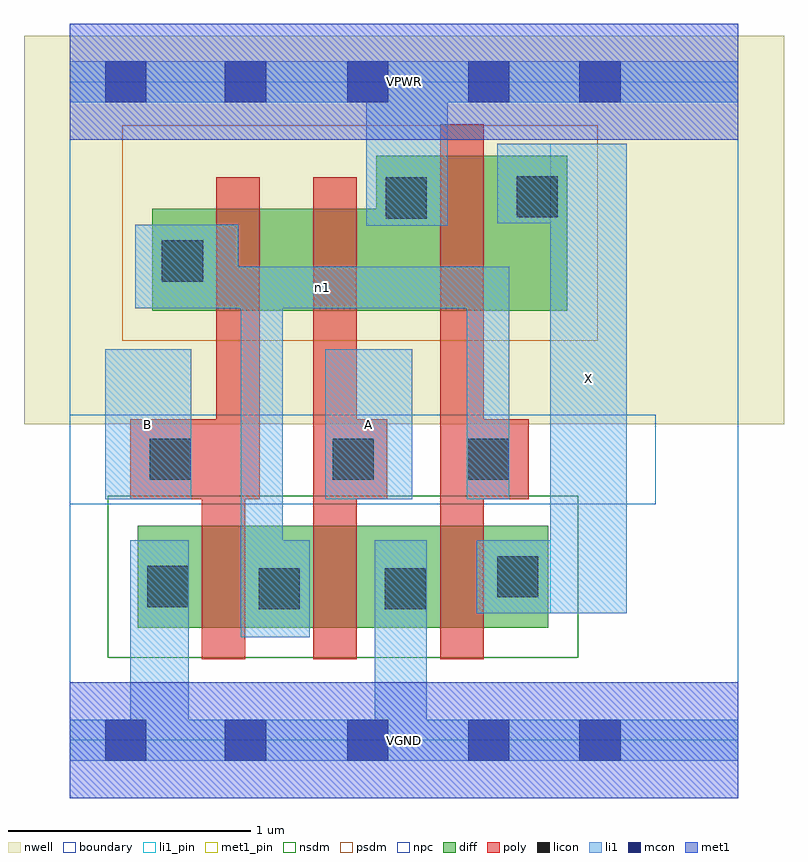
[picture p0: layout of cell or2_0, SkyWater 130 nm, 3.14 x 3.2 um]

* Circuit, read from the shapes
.subckt or2_0 A B VGND VPWR X n1
XM1 n1 B VGND VSUBS sky130_fd_pr__nfet_01v8 w=0.42 l=0.18
XM2 VGND A n1 VSUBS sky130_fd_pr__nfet_01v8 w=0.42 l=0.18
XM3 X n1 VGND VSUBS sky130_fd_pr__nfet_01v8 w=0.42 l=0.18
XM4 n2 B n1 n3 sky130_fd_pr__pfet_01v8 w=0.42 l=0.18
XM5 VPWR A n2 n3 sky130_fd_pr__pfet_01v8 w=0.42 l=0.18
XM6 X n1 VPWR n3 sky130_fd_pr__pfet_01v8 w=0.64 l=0.18
.ends

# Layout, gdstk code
import gdstk
lib = gdstk.Library(unit=1e-6, precision=1e-09)
def R(c, l, rs):  # rectangles x0, y0, x1, y1
    for r in rs: c.add(gdstk.rectangle(r[:2], r[2:], *l))
nwell = (64, 20)
diff = (65, 20)
poly = (66, 20)
licon = (66, 44)
li1_pin = (67, 16)
li1 = (67, 20)
mcon = (67, 44)
met1_pin = (68, 16)
met1 = (68, 20)
nsdm = (93, 44)
psdm = (94, 20)
npc = (95, 20)
boundary = (235, 4)

or2_0 = lib.new_cell('or2_0')
R(or2_0, nwell, [(-0.19,1.305,2.95,2.91), (0,1.305,2.76,2.91)])
R(or2_0, diff, [(0.28,0.465,1.975,0.885), (0.34,1.775,2.055,2.195), (1.265,1.775,2.055,2.415)])
R(or2_0, poly, [(0.545,0.335,0.725,1.325), (1.005,0.335,1.185,2.325), (1.53,0.335,1.71,2.545), (0.25,0.995,0.785,1.325), (0.605,0.995,0.785,2.325), (1.005,0.995,1.31,1.325), (1.53,0.995,1.895,1.325)])
R(or2_0, licon, [(0.78,0.54,0.95,0.71), (1.3,0.54,1.47,0.71), (0.32,0.55,0.49,0.72), (1.765,0.59,1.935,0.76), (0.33,1.075,0.5,1.245), (1.085,1.075,1.255,1.245), (1.645,1.075,1.815,1.245), (0.38,1.895,0.55,2.065), (1.305,2.155,1.475,2.325), (1.845,2.16,2.015,2.33)])
R(or2_0, li1_pin, [(1.985,0.525,2.3,2.465), (0.145,0.995,0.5,1.615), (1.055,0.995,1.415,1.615)])
R(or2_0, li1, [(0,-0.085,2.76,0.085), (0.25,-0.085,0.49,0.825), (1.26,-0.085,1.475,0.825), (0.705,0.425,0.88,1.955), (0.705,0.425,0.99,0.825), (1.68,0.525,2.3,0.825), (1.985,0.525,2.3,2.465), (0.145,0.995,0.5,1.615), (1.055,0.995,1.415,1.615), (1.64,0.995,1.815,1.955), (0.27,1.785,1.815,1.955), (0.27,1.785,0.695,2.13), (1.225,2.125,1.56,2.805), (1.765,2.135,2.3,2.465), (0,2.635,2.76,2.805)])
R(or2_0, mcon, [(0.145,-0.085,0.315,0.085), (0.64,-0.085,0.81,0.085), (1.145,-0.085,1.315,0.085), (1.645,-0.085,1.815,0.085), (2.105,-0.085,2.275,0.085), (0.145,2.635,0.315,2.805), (0.64,2.635,0.81,2.805), (1.145,2.635,1.315,2.805), (1.645,2.635,1.815,2.805), (2.105,2.635,2.275,2.805)])
R(or2_0, met1_pin, [(0,-0.24,2.76,0.24), (0,2.48,2.76,2.96)])
R(or2_0, met1, [(0,-0.24,2.76,0.24), (0,2.48,2.76,2.96)])
R(or2_0, nsdm, [(0.155,0.34,2.1,1.01)])
R(or2_0, psdm, [(0.215,1.65,2.18,2.54)])
R(or2_0, npc, [(0,0.975,2.42,1.345)])
R(or2_0, boundary, [(0,0,2.76,2.72)])
or2_0.add(gdstk.Label('A', (1.235,1.305), layer=67, texttype=5))
or2_0.add(gdstk.Label('B', (0.322,1.305), layer=67, texttype=5))
or2_0.add(gdstk.Label('X', (2.142,1.495), layer=67, texttype=5))
or2_0.add(gdstk.Label('n1', (1.042,1.87), layer=67, texttype=5))
or2_0.add(gdstk.Label('VPWR', (1.38,2.72), layer=68, texttype=5))
or2_0.add(gdstk.Label('VGND', (1.38,0), layer=68, texttype=5))
or2_0.add(gdstk.Label('A', (1.235,1.305), layer=67, texttype=16))
or2_0.add(gdstk.Label('B', (0.322,1.305), layer=67, texttype=16))
or2_0.add(gdstk.Label('X', (2.142,1.495), layer=67, texttype=16))
or2_0.add(gdstk.Label('VPWR', (1.38,2.72), layer=68, texttype=16))
or2_0.add(gdstk.Label('VGND', (1.38,0), layer=68, texttype=16))

lib.write_gds('or2_0.gds')
